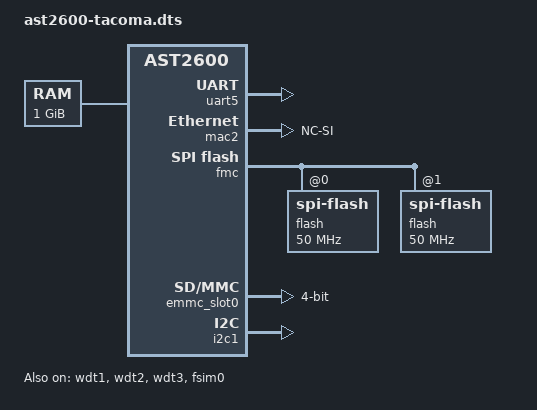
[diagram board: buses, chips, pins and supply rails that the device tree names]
// SPDX-License-Identifier: GPL-2.0-or-later
// Copyright 2019 IBM Corporation
/dts-v1/;

#include "ast2600-u-boot.dtsi"

/ {
	memory {
		device_type = "memory";
		reg = <0x80000000 0x40000000>;
	};

	chosen {
		stdout-path = &uart5;
	};

	aliases {
		spi0 = &fmc;
		ethernet0 = &mac2;
	};

	cpus {
		cpu@0 {
			clock-frequency = <800000000>;
		};
		cpu@1 {
			clock-frequency = <800000000>;
		};
	};
};

&uart5 {
	u-boot,dm-pre-reloc;
	status = "okay";
};

&sdrammc {
	clock-frequency = <400000000>;
};

&wdt1 {
	u-boot,dm-pre-reloc;
	status = "okay";
};

&wdt2 {
	u-boot,dm-pre-reloc;
	status = "okay";
};

&wdt3 {
	u-boot,dm-pre-reloc;
	status = "okay";
};

&mac2 {
	status = "okay";
	phy-mode = "NC-SI";
	pinctrl-names = "default";
	pinctrl-0 = <&pinctrl_rmii3_default>;
};

&fmc {
	status = "okay";
	pinctrl-names = "default";
	pinctrl-0 = <&pinctrl_fmcquad_default>;

	flash@0 {
		compatible = "spi-flash", "sst,w25q256";
		status = "okay";
		spi-max-frequency = <50000000>;
		spi-tx-bus-width = <2>;
		spi-rx-bus-width = <2>;
	};

	flash@1 {
		compatible = "spi-flash", "sst,w25q256";
		status = "okay";
		spi-max-frequency = <50000000>;
		spi-tx-bus-width = <2>;
		spi-rx-bus-width = <2>;
	};
};

&emmc_slot0 {
	status = "okay";
	bus-width = <4>;
	pinctrl-names = "default";
	pinctrl-0 = <&pinctrl_emmc_default>;
};

&i2c1 {
	status = "okay";

	pinctrl-names = "default";
	pinctrl-0 = <&pinctrl_i2c2_default>;

	/* TPM */
};

&fsim0 {
	status = "okay";
};
